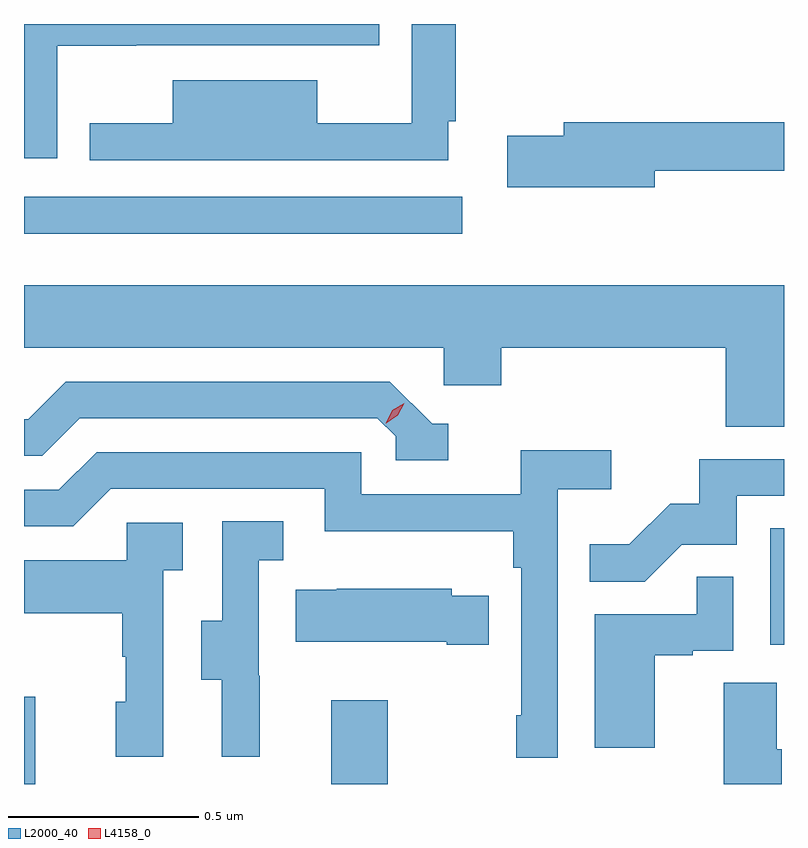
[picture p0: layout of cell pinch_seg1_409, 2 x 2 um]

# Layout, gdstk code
import gdstk
lib = gdstk.Library(unit=1e-6, precision=1e-09)
def R(c, l, rs):  # rectangles x0, y0, x1, y1
    for r in rs: c.add(gdstk.rectangle(r[:2], r[2:], *l))
def P(c, l, *ps):  # polygons
    for p in ps: c.add(gdstk.Polygon(p, *l))
L2000_40 = (2000, 40)
L4158_0 = (4158, 0)

pinch_seg1_409 = lib.new_cell('pinch_seg1_409')
R(pinch_seg1_409, L2000_40, [(985.908,534.6,985.937,534.829), (986.717,534.6,986.865,534.82), (987.872,534.966,987.908,535.273), (985.908,536.048,987.061,536.145)])
P(pinch_seg1_409, L2000_40, [(985.996,536.543),(986.204,536.543),(986.204,536.544),(986.843,536.544),(986.843,536.6),(985.908,536.6),(985.908,536.247),(985.996,536.247)],
  [(987.025,536.344),(987.044,536.344),(987.044,536.6),(986.928,536.6),(986.928,536.339),(986.68,536.339),(986.68,536.452),(986.3,536.452),(986.3,536.339),(986.081,536.339),(986.081,536.241),(987.025,536.241)],
  [(987.568,536.214),(987.908,536.214),(987.908,536.342),(987.329,536.342),(987.329,536.306),(987.18,536.306),(987.18,536.171),(987.568,536.171)],
  [(987.908,535.912),(985.908,535.912),(985.908,535.748),(987.012,535.748),(987.012,535.65),(987.164,535.65),(987.164,535.748),(987.755,535.748),(987.755,535.54),(987.908,535.54)],
  [(987.025,535.548),(986.982,535.548),(986.871,535.659),(986.018,535.659),(985.919,535.56),(985.908,535.56),(985.908,535.464),(985.956,535.464),(986.055,535.563),(986.838,535.563),(986.886,535.515),(986.886,535.452),(987.025,535.452)],
  [(987.312,535.376),(987.454,535.376),(987.454,535.478),(987.215,535.478),(987.215,535.362),(986.796,535.362),(986.796,535.473),(986.099,535.473),(986,535.374),(985.908,535.374),(985.908,535.278),(986.037,535.278),(986.136,535.377),(986.7,535.377),(986.7,535.265),(987.196,535.265),(987.196,535.169),(987.216,535.169),(987.216,534.781),(987.204,534.781),(987.204,534.669),(987.312,534.669)],
  [(987.639,535.23),(987.783,535.23),(987.783,535.359),(987.908,535.359),(987.908,535.455),(987.685,535.455),(987.685,535.338),(987.608,535.338),(987.501,535.231),(987.397,535.231),(987.397,535.132),(987.541,535.132)],
  [(986.528,534.885),(986.526,534.885),(986.526,535.189),(986.59,535.189),(986.59,535.292),(986.43,535.292),(986.43,535.029),(986.375,535.029),(986.375,534.874),(986.429,534.874),(986.429,534.672),(986.528,534.672)],
  [(986.274,535.163),(986.326,535.163),(986.326,535.287),(986.178,535.287),(986.178,535.189),(985.908,535.189),(985.908,535.049),(986.166,535.049),(986.166,534.935),(986.176,534.935),(986.176,534.816),(986.15,534.816),(986.15,534.672),(986.274,534.672)],
  [(987.568,534.939),(987.668,534.939),(987.668,534.951),(987.774,534.951),(987.774,535.145),(987.679,535.145),(987.679,535.047),(987.41,535.047),(987.41,534.696),(987.568,534.696)],
  [(987.131,535.096),(987.033,535.096),(987.033,535.114),(986.731,535.114),(986.731,535.111),(986.623,535.111),(986.623,534.974),(987.02,534.974),(987.02,534.967),(987.131,534.967)],
  [(987.902,534.692),(987.889,534.692),(987.889,534.866),(987.749,534.866),(987.749,534.6),(987.902,534.6)])
P(pinch_seg1_409, L4158_0, [(986.86,535.55),(986.86,535.55),(986.877,535.583),(986.908,535.602),(986.908,535.602),(986.908,535.602),(986.892,535.57),(986.861,535.55)])

lib.write_gds('pinch_seg1_409.gds')
